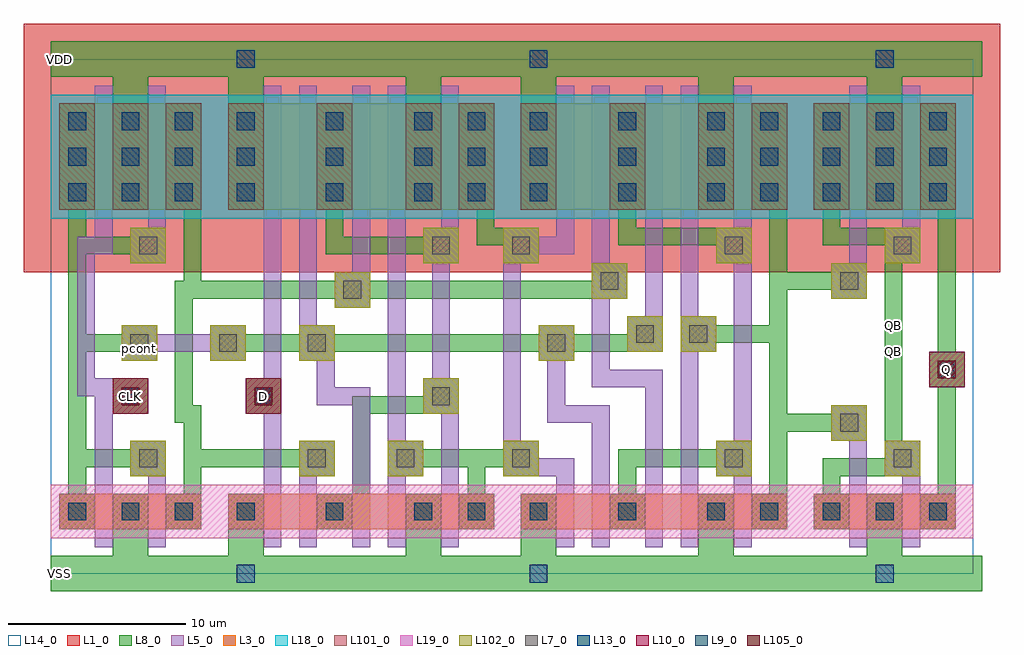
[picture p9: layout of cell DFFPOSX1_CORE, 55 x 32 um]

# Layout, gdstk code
import gdstk
lib = gdstk.Library(unit=1e-6, precision=1e-09)
def R(c, l, rs):  # rectangles x0, y0, x1, y1
    for r in rs: c.add(gdstk.rectangle(r[:2], r[2:], *l))
def A(c, l, x, y, w, h, nx, ny, dx, dy):  # array of equal rectangles
    R(c, l, [(x+i*dx, y+j*dy, x+i*dx+w, y+j*dy+h) for i in range(nx) for j in range(ny)])
def P(c, l, *ps):  # polygons
    for p in ps: c.add(gdstk.Polygon(p, *l))
L1_0 = (1, 0)
L3_0 = (3, 0)
L5_0 = (5, 0)
L7_0 = (7, 0)
L8_0 = (8, 0)
L9_0 = (9, 0)
L10_0 = (10, 0)
L13_0 = (13, 0)
L14_0 = (14, 0)
L18_0 = (18, 0)
L19_0 = (19, 0)
L101_0 = (101, 0)
L102_0 = (102, 0)
L105_0 = (105, 0)

dffposx1_core = lib.new_cell('DFFPOSX1_CORE')
R(dffposx1_core, L1_0, [(-1.5,17,53.5,31)])
R(dffposx1_core, L3_0, [(0.5,2.5,8.5,4.5), (10,2.5,25,4.5), (26.5,2.5,41.5,4.5), (43,2.5,51,4.5), (0.5,20.5,8.5,26.5), (10,20.5,25,26.5), (26.5,20.5,41.5,26.5), (43,20.5,51,26.5)])
P(dffposx1_core, L5_0, [(5.5,1.5),(5.5,5.5),(4.5,5.5),(4.5,7.5),(6.5,7.5),(6.5,1.5)],
  [(14,1.5),(14,7.5),(16,7.5),(16,5.5),(15,5.5),(15,1.5)],
  [(48,1.5),(48,5.5),(47,5.5),(47,7.5),(49,7.5),(49,1.5)],
  [(45,1.5),(45,7.5),(44,7.5),(44,9.5),(46,9.5),(46,1.5)],
  [(4,12),(4,14),(6,14),(6,13.5),(9,13.5),(9,14),(11,14),(11,12),(9,12),(9,12.5),(6,12.5),(6,12)],
  [(30.5,1.5),(30.5,8.5),(28,8.5),(28,12),(27.5,12),(27.5,14),(29.5,14),(29.5,12),(29,12),(29,9.5),(31.5,9.5),(31.5,1.5)],
  [(2.5,1.5),(2.5,10),(1.5,10),(1.5,19),(2.5,19),(2.5,27.5),(3.5,27.5),(3.5,18),(2.5,18),(2.5,11),(5.5,11),(5.5,9),(3.5,9),(3.5,1.5)],
  [(4.5,17.5),(4.5,19.5),(5.5,19.5),(5.5,27.5),(6.5,27.5),(6.5,17.5)],
  [(12,1.5),(12,9),(11,9),(11,11),(12,11),(12,27.5),(13,27.5),(13,1.5)],
  [(17,1.5),(17,9.5),(15,9.5),(15,12),(14,12),(14,27.5),(15,27.5),(15,14),(16,14),(16,10.5),(18,10.5),(18,1.5)],
  [(16,15),(16,17),(17,17),(17,27.5),(18,27.5),(18,15)],
  [(19,1.5),(19,27.5),(20,27.5),(20,7.5),(21,7.5),(21,5.5),(20,5.5),(20,1.5)],
  [(22,1.5),(22,9),(21,9),(21,11),(21.5,11),(21.5,17.5),(21,17.5),(21,19.5),(22,19.5),(22,27.5),(23,27.5),(23,17.5),(22.5,17.5),(22.5,11),(23,11),(23,1.5)],
  [(28.5,1.5),(28.5,5.5),(25.5,5.5),(25.5,19.5),(27.5,19.5),(27.5,19),(28.5,19),(28.5,27.5),(29.5,27.5),(29.5,18),(27.5,18),(27.5,17.5),(26.5,17.5),(26.5,7.5),(27.5,7.5),(27.5,6.5),(29.5,6.5),(29.5,1.5)],
  [(33.5,1.5),(33.5,10.5),(30.5,10.5),(30.5,27.5),(31.5,27.5),(31.5,17.5),(32.5,17.5),(32.5,15.5),(31.5,15.5),(31.5,11.5),(34.5,11.5),(34.5,1.5)],
  [(32.5,12.5),(32.5,14.5),(33.5,14.5),(33.5,27.5),(34.5,27.5),(34.5,12.5)],
  [(35.5,1.5),(35.5,27.5),(36.5,27.5),(36.5,14.5),(37.5,14.5),(37.5,12.5),(36.5,12.5),(36.5,1.5)],
  [(38.5,1.5),(38.5,5.5),(37.5,5.5),(37.5,7.5),(38.5,7.5),(38.5,17.5),(37.5,17.5),(37.5,19.5),(38.5,19.5),(38.5,27.5),(39.5,27.5),(39.5,1.5)],
  [(44,15.5),(44,17.5),(45,17.5),(45,27.5),(46,27.5),(46,15.5)],
  [(47,17.5),(47,19.5),(48,19.5),(48,27.5),(49,27.5),(49,17.5)])
A(dffposx1_core, L7_0, 1, 3, 1, 1, 3, 2, 3, 18)
A(dffposx1_core, L7_0, 10.5, 3, 1, 1, 3, 2, 5, 18)
A(dffposx1_core, L7_0, 27, 3, 1, 1, 3, 2, 5, 18)
A(dffposx1_core, L7_0, 43.5, 3, 1, 1, 3, 2, 3, 18)
A(dffposx1_core, L7_0, 4.5, 12.5, 1, 1, 3, 1, 5, 0)
A(dffposx1_core, L7_0, 23.5, 21, 1, 1, 1, 3, 0, 2)
A(dffposx1_core, L7_0, 40, 21, 1, 1, 1, 3, 0, 2)
A(dffposx1_core, L7_0, 1, 23, 1, 1, 3, 2, 3, 2)
A(dffposx1_core, L7_0, 10.5, 23, 1, 1, 3, 2, 5, 2)
A(dffposx1_core, L7_0, 27, 23, 1, 1, 3, 2, 5, 2)
A(dffposx1_core, L7_0, 43.5, 23, 1, 1, 3, 2, 3, 2)
R(dffposx1_core, L7_0, [(23.5,3,24.5,4), (40,3,41,4), (5,6,6,7), (14.5,6,15.5,7), (19.5,6,20.5,7), (26,6,27,7), (38,6,39,7), (47.5,6,48.5,7), (44.5,8,45.5,9), (4,9.5,5,10.5), (11.5,9.5,12.5,10.5), (21.5,9.5,22.5,10.5), (28,12.5,29,13.5), (33,13,34,14), (36,13,37,14), (16.5,15.5,17.5,16.5), (31,16,32,17), (44.5,16,45.5,17), (5,18,6,19), (21.5,18,22.5,19), (26,18,27,19), (38,18,39,19), (47.5,18,48.5,19)])
R(dffposx1_core, L8_0, [(3.5,9,5.5,11), (11,9,13,11)])
P(dffposx1_core, L8_0, [(0,-1),(0,1),(3.5,1),(3.5,4.5),(5.5,4.5),(5.5,1),(10,1),(10,4.5),(12,4.5),(12,1),(20,1),(20,4.5),(22,4.5),(22,1),(26.5,1),(26.5,4.5),(28.5,4.5),(28.5,1),(36.5,1),(36.5,4.5),(38.5,4.5),(38.5,1),(46,1),(46,4.5),(48,4.5),(48,1),(52.5,1),(52.5,-1)],
  [(3.5,20.5),(3.5,28),(0,28),(0,30),(52.5,30),(52.5,28),(48,28),(48,20.5),(46,20.5),(46,28),(38.5,28),(38.5,20.5),(36.5,20.5),(36.5,28),(28.5,28),(28.5,20.5),(26.5,20.5),(26.5,28),(22,28),(22,20.5),(20,20.5),(20,28),(12,28),(12,20.5),(10,20.5),(10,28),(5.5,28),(5.5,20.5)],
  [(23,2.5),(23,4.5),(23.5,4.5),(23.5,6),(21,6),(21,5.5),(19,5.5),(19,7.5),(21,7.5),(21,7),(25.5,7),(25.5,7.5),(27.5,7.5),(27.5,5.5),(25.5,5.5),(25.5,6),(24.5,6),(24.5,4.5),(25,4.5),(25,2.5)],
  [(31.5,2.5),(31.5,4.5),(32,4.5),(32,7),(37.5,7),(37.5,7.5),(39.5,7.5),(39.5,5.5),(37.5,5.5),(37.5,6),(33,6),(33,4.5),(33.5,4.5),(33.5,2.5)],
  [(15,2.5),(15,4.5),(17,4.5),(17,10),(21,10),(21,11),(23,11),(23,9),(18,9),(18,2.5)],
  [(9,12),(9,14),(11,14),(11,13.5),(14,13.5),(14,14),(16,14),(16,13.5),(27.5,13.5),(27.5,14),(29.5,14),(29.5,13.5),(32.5,13.5),(32.5,14.5),(34.5,14.5),(34.5,12.5),(29.5,12.5),(29.5,12),(27.5,12),(27.5,12.5),(16,12.5),(16,12),(14,12),(14,12.5),(11,12.5),(11,12)],
  [(0.5,2.5),(0.5,4.5),(1,4.5),(1,20.5),(0.5,20.5),(0.5,26.5),(2.5,26.5),(2.5,20.5),(2,20.5),(2,19),(4.5,19),(4.5,19.5),(6.5,19.5),(6.5,17.5),(4.5,17.5),(4.5,18),(2,18),(2,13.5),(4,13.5),(4,14),(6,14),(6,12),(4,12),(4,12.5),(2,12.5),(2,7),(4.5,7),(4.5,7.5),(6.5,7.5),(6.5,5.5),(4.5,5.5),(4.5,6),(2,6),(2,4.5),(2.5,4.5),(2.5,2.5)],
  [(6.5,2.5),(6.5,4.5),(7.5,4.5),(7.5,8.5),(7,8.5),(7,16.5),(7.5,16.5),(7.5,20.5),(6.5,20.5),(6.5,26.5),(8.5,26.5),(8.5,16.5),(16,16.5),(16,17),(18,17),(18,16.5),(30.5,16.5),(30.5,17.5),(32.5,17.5),(32.5,15.5),(18,15.5),(18,15),(16,15),(16,15.5),(8,15.5),(8,9.5),(8.5,9.5),(8.5,7),(14,7),(14,7.5),(16,7.5),(16,5.5),(14,5.5),(14,6),(8.5,6),(8.5,2.5)],
  [(21,17.5),(21,18),(15.5,18),(15.5,20.5),(15,20.5),(15,26.5),(17,26.5),(17,20.5),(16.5,20.5),(16.5,19),(21,19),(21,19.5),(23,19.5),(23,17.5)],
  [(25.5,17.5),(25.5,18.5),(24,18.5),(24,20.5),(23,20.5),(23,26.5),(25,26.5),(25,19.5),(27.5,19.5),(27.5,17.5)],
  [(37.5,17.5),(37.5,18.5),(32,18.5),(32,20.5),(31.5,20.5),(31.5,26.5),(33.5,26.5),(33.5,20.5),(33,20.5),(33,19.5),(39.5,19.5),(39.5,17.5)],
  [(39.5,2.5),(39.5,4.5),(40.5,4.5),(40.5,13),(37.5,13),(37.5,12.5),(35.5,12.5),(35.5,14.5),(37.5,14.5),(37.5,14),(40.5,14),(40.5,20.5),(39.5,20.5),(39.5,26.5),(41.5,26.5),(41.5,17),(44,17),(44,17.5),(46,17.5),(46,15.5),(44,15.5),(44,16),(41.5,16),(41.5,9),(44,9),(44,9.5),(46,9.5),(46,7.5),(44,7.5),(44,8),(41.5,8),(41.5,2.5)],
  [(43,2.5),(43,4.5),(43.5,4.5),(43.5,6.5),(47,6.5),(47,18.5),(43.5,18.5),(43.5,20.5),(43,20.5),(43,26.5),(45,26.5),(45,20.5),(44.5,20.5),(44.5,19.5),(49,19.5),(49,17.5),(48,17.5),(48,7.5),(49,7.5),(49,5.5),(44.5,5.5),(44.5,4.5),(45,4.5),(45,2.5)],
  [(49,2.5),(49,4.5),(50,4.5),(50,10.5),(49.5,10.5),(49.5,12.5),(50,12.5),(50,20.5),(49,20.5),(49,26.5),(51,26.5),(51,12.5),(51.5,12.5),(51.5,10.5),(51,10.5),(51,2.5)])
R(dffposx1_core, L9_0, [(4,9.5,5,10.5), (11.5,9.5,12.5,10.5), (50,11,51,12)])
R(dffposx1_core, L10_0, [(3.5,9,5.5,11), (11,9,13,11), (49.5,10.5,51.5,12.5)])
A(dffposx1_core, L13_0, 1, 3, 1, 1, 3, 2, 3, 18)
A(dffposx1_core, L13_0, 10.5, 3, 1, 1, 3, 2, 5, 18)
A(dffposx1_core, L13_0, 27, 3, 1, 1, 3, 2, 5, 18)
A(dffposx1_core, L13_0, 43.5, 3, 1, 1, 3, 2, 3, 18)
A(dffposx1_core, L13_0, 23.5, 21, 1, 1, 1, 3, 0, 2)
A(dffposx1_core, L13_0, 40, 21, 1, 1, 1, 3, 0, 2)
A(dffposx1_core, L13_0, 1, 23, 1, 1, 3, 2, 3, 2)
A(dffposx1_core, L13_0, 10.5, 23, 1, 1, 3, 2, 5, 2)
A(dffposx1_core, L13_0, 27, 23, 1, 1, 3, 2, 5, 2)
A(dffposx1_core, L13_0, 43.5, 23, 1, 1, 3, 2, 3, 2)
R(dffposx1_core, L13_0, [(10.5,-0.5,11.5,0.5), (27,-0.5,28,0.5), (46.5,-0.5,47.5,0.5), (23.5,3,24.5,4), (40,3,41,4), (4,9.5,5,10.5), (11.5,9.5,12.5,10.5), (50,11,51,12), (10.5,28.5,11.5,29.5), (27,28.5,28,29.5), (46.5,28.5,47.5,29.5)])
R(dffposx1_core, L14_0, [(0,0,52,29)])
R(dffposx1_core, L18_0, [(0,20,52,27)])
R(dffposx1_core, L19_0, [(0,2,52,5)])
A(dffposx1_core, L101_0, 0.5, 2.5, 2, 2, 3, 1, 3, 0)
A(dffposx1_core, L101_0, 10, 2.5, 2, 2, 3, 1, 5, 0)
A(dffposx1_core, L101_0, 26.5, 2.5, 2, 2, 3, 1, 5, 0)
A(dffposx1_core, L101_0, 43, 2.5, 2, 2, 3, 1, 3, 0)
A(dffposx1_core, L101_0, 0.5, 20.5, 2, 6, 3, 1, 3, 0)
A(dffposx1_core, L101_0, 10, 20.5, 2, 6, 3, 1, 5, 0)
A(dffposx1_core, L101_0, 26.5, 20.5, 2, 6, 3, 1, 5, 0)
A(dffposx1_core, L101_0, 43, 20.5, 2, 6, 3, 1, 3, 0)
R(dffposx1_core, L101_0, [(23,2.5,25,4.5), (39.5,2.5,41.5,4.5), (23,20.5,25,26.5), (39.5,20.5,41.5,26.5)])
A(dffposx1_core, L102_0, 4, 12, 2, 2, 3, 1, 5, 0)
R(dffposx1_core, L102_0, [(4.5,5.5,6.5,7.5), (14,5.5,16,7.5), (19,5.5,21,7.5), (25.5,5.5,27.5,7.5), (37.5,5.5,39.5,7.5), (47,5.5,49,7.5), (44,7.5,46,9.5), (3.5,9,5.5,11), (11,9,13,11), (21,9,23,11), (27.5,12,29.5,14), (32.5,12.5,34.5,14.5), (35.5,12.5,37.5,14.5), (16,15,18,17), (30.5,15.5,32.5,17.5), (44,15.5,46,17.5), (4.5,17.5,6.5,19.5), (21,17.5,23,19.5), (25.5,17.5,27.5,19.5), (37.5,17.5,39.5,19.5), (47,17.5,49,19.5)])
R(dffposx1_core, L105_0, [(4,9.5,5,10.5), (11.5,9.5,12.5,10.5), (50,11,51,12)])
dffposx1_core.add(gdstk.Label('QB', (47.5,14), layer=8, texttype=0))
dffposx1_core.add(gdstk.Label('VDD', (0.5,29), layer=8, texttype=0))
dffposx1_core.add(gdstk.Label('VSS', (0.5,0), layer=8, texttype=0))
dffposx1_core.add(gdstk.Label('QB', (47.5,12.5), layer=8, texttype=0))
dffposx1_core.add(gdstk.Label('CLK', (4.5,10), layer=10, texttype=0))
dffposx1_core.add(gdstk.Label('D', (12,10), layer=10, texttype=0))
dffposx1_core.add(gdstk.Label('Q', (50.5,11.5), layer=10, texttype=0))
dffposx1_core.add(gdstk.Label('via', (50.2,11.2), layer=13, texttype=0))
dffposx1_core.add(gdstk.Label('via', (11.7,9.7), layer=13, texttype=0))
dffposx1_core.add(gdstk.Label('via', (11.7,9.7), layer=13, texttype=0))
dffposx1_core.add(gdstk.Label('pcont', (5,12.7), layer=13, texttype=0))
dffposx1_core.add(gdstk.Label('via', (4.2,9.7), layer=13, texttype=0))
dffposx1_core.add(gdstk.Label('via', (4.2,9.7), layer=13, texttype=0))
dffposx1_core.add(gdstk.Label('dcont', (0,0), layer=13, texttype=0))
dffposx1_core.add(gdstk.Label('dcont', (0,0), layer=13, texttype=0))
dffposx1_core.add(gdstk.Label('dcont', (0,0), layer=13, texttype=0))
dffposx1_core.add(gdstk.Label('dcont', (0,0), layer=13, texttype=0))
dffposx1_core.add(gdstk.Label('dcont', (0,0), layer=13, texttype=0))
dffposx1_core.add(gdstk.Label('dcont', (0,0), layer=13, texttype=0))
dffposx1_core.add(gdstk.Label('dcont', (0,0), layer=13, texttype=0))
dffposx1_core.add(gdstk.Label('dcont', (0,0), layer=13, texttype=0))
dffposx1_core.add(gdstk.Label('dcont', (0,0), layer=13, texttype=0))
dffposx1_core.add(gdstk.Label('dcont', (0,0), layer=13, texttype=0))
dffposx1_core.add(gdstk.Label('dcont', (0,0), layer=13, texttype=0))
dffposx1_core.add(gdstk.Label('dcont', (0,0), layer=13, texttype=0))
dffposx1_core.add(gdstk.Label('dcont', (0,0), layer=13, texttype=0))
dffposx1_core.add(gdstk.Label('dcont', (0,0), layer=13, texttype=0))
dffposx1_core.add(gdstk.Label('dcont', (0,0), layer=13, texttype=0))
dffposx1_core.add(gdstk.Label('dcont', (0,0), layer=13, texttype=0))
dffposx1_core.add(gdstk.Label('dcont', (0,0), layer=13, texttype=0))
dffposx1_core.add(gdstk.Label('dcont', (0,0), layer=13, texttype=0))
dffposx1_core.add(gdstk.Label('dcont', (0,0), layer=13, texttype=0))
dffposx1_core.add(gdstk.Label('dcont', (0,0), layer=13, texttype=0))
dffposx1_core.add(gdstk.Label('dcont', (0,0), layer=13, texttype=0))
dffposx1_core.add(gdstk.Label('dcont', (0,0), layer=13, texttype=0))
dffposx1_core.add(gdstk.Label('dcont', (0,0), layer=13, texttype=0))
dffposx1_core.add(gdstk.Label('dcont', (0,0), layer=13, texttype=0))
dffposx1_core.add(gdstk.Label('dcont', (0,0), layer=13, texttype=0))
dffposx1_core.add(gdstk.Label('dcont', (0,0), layer=13, texttype=0))
dffposx1_core.add(gdstk.Label('dcont', (0,0), layer=13, texttype=0))
dffposx1_core.add(gdstk.Label('dcont', (0,0), layer=13, texttype=0))
dffposx1_core.add(gdstk.Label('dcont', (0,0), layer=13, texttype=0))
dffposx1_core.add(gdstk.Label('dcont', (0,0), layer=13, texttype=0))
dffposx1_core.add(gdstk.Label('dcont', (0,0), layer=13, texttype=0))
dffposx1_core.add(gdstk.Label('dcont', (0,0), layer=13, texttype=0))
dffposx1_core.add(gdstk.Label('dcont', (0,0), layer=13, texttype=0))
dffposx1_core.add(gdstk.Label('dcont', (0,0), layer=13, texttype=0))
dffposx1_core.add(gdstk.Label('dcont', (0,0), layer=13, texttype=0))
dffposx1_core.add(gdstk.Label('dcont', (0,0), layer=13, texttype=0))
dffposx1_core.add(gdstk.Label('dcont', (0,0), layer=13, texttype=0))
dffposx1_core.add(gdstk.Label('dcont', (0,0), layer=13, texttype=0))
dffposx1_core.add(gdstk.Label('dcont', (0,0), layer=13, texttype=0))
dffposx1_core.add(gdstk.Label('dcont', (0,0), layer=13, texttype=0))
dffposx1_core.add(gdstk.Label('dcont', (0,0), layer=13, texttype=0))
dffposx1_core.add(gdstk.Label('dcont', (0,0), layer=13, texttype=0))
dffposx1_core.add(gdstk.Label('dcont', (0,0), layer=13, texttype=0))
dffposx1_core.add(gdstk.Label('dcont', (0,0), layer=13, texttype=0))
dffposx1_core.add(gdstk.Label('dcont', (0,0), layer=13, texttype=0))
dffposx1_core.add(gdstk.Label('dcont', (0,0), layer=13, texttype=0))
dffposx1_core.add(gdstk.Label('dcont', (0,0), layer=13, texttype=0))
dffposx1_core.add(gdstk.Label('dcont', (0,0), layer=13, texttype=0))
dffposx1_core.add(gdstk.Label('dcont', (0,0), layer=13, texttype=0))
dffposx1_core.add(gdstk.Label('dcont', (0,0), layer=13, texttype=0))
dffposx1_core.add(gdstk.Label('dcont', (0,0), layer=13, texttype=0))
dffposx1_core.add(gdstk.Label('dcont', (0,0), layer=13, texttype=0))
dffposx1_core.add(gdstk.Label('dcont', (0,0), layer=13, texttype=0))
dffposx1_core.add(gdstk.Label('dcont', (0,0), layer=13, texttype=0))
dffposx1_core.add(gdstk.Label('dcont', (0,0), layer=13, texttype=0))
dffposx1_core.add(gdstk.Label('dcont', (0,0), layer=13, texttype=0))
dffposx1_core.add(gdstk.Label('PScon', (0,0), layer=13, texttype=0))
dffposx1_core.add(gdstk.Label('dcont', (0,0), layer=13, texttype=0))
dffposx1_core.add(gdstk.Label('PScon', (0,0), layer=13, texttype=0))
dffposx1_core.add(gdstk.Label('dcont', (0,0), layer=13, texttype=0))
dffposx1_core.add(gdstk.Label('PScon', (0,0), layer=13, texttype=0))
dffposx1_core.add(gdstk.Label('dcont', (0,0), layer=13, texttype=0))
dffposx1_core.add(gdstk.Label('via', (0,0), layer=13, texttype=0))
dffposx1_core.add(gdstk.Label('via', (0,0), layer=13, texttype=0))
dffposx1_core.add(gdstk.Label('via', (0,0), layer=13, texttype=0))
dffposx1_core.add(gdstk.Label('pcont', (0,0), layer=13, texttype=0))
dffposx1_core.add(gdstk.Label('pcont', (0,0), layer=13, texttype=0))
dffposx1_core.add(gdstk.Label('pcont', (0,0), layer=13, texttype=0))
dffposx1_core.add(gdstk.Label('pcont', (0,0), layer=13, texttype=0))
dffposx1_core.add(gdstk.Label('pcont', (0,0), layer=13, texttype=0))
dffposx1_core.add(gdstk.Label('pcont', (0,0), layer=13, texttype=0))
dffposx1_core.add(gdstk.Label('pcont', (0,0), layer=13, texttype=0))
dffposx1_core.add(gdstk.Label('pcont', (0,0), layer=13, texttype=0))
dffposx1_core.add(gdstk.Label('pcont', (0,0), layer=13, texttype=0))
dffposx1_core.add(gdstk.Label('pcont', (0,0), layer=13, texttype=0))
dffposx1_core.add(gdstk.Label('pcont', (0,0), layer=13, texttype=0))
dffposx1_core.add(gdstk.Label('pcont', (0,0), layer=13, texttype=0))
dffposx1_core.add(gdstk.Label('pcont', (0,0), layer=13, texttype=0))
dffposx1_core.add(gdstk.Label('pcont', (0,0), layer=13, texttype=0))
dffposx1_core.add(gdstk.Label('pcont', (0,0), layer=13, texttype=0))
dffposx1_core.add(gdstk.Label('pcont', (0,0), layer=13, texttype=0))
dffposx1_core.add(gdstk.Label('pcont', (0,0), layer=13, texttype=0))
dffposx1_core.add(gdstk.Label('pcont', (0,0), layer=13, texttype=0))
dffposx1_core.add(gdstk.Label('pcont', (0,0), layer=13, texttype=0))
dffposx1_core.add(gdstk.Label('pcont', (0,0), layer=13, texttype=0))
dffposx1_core.add(gdstk.Label('pcont', (0,0), layer=13, texttype=0))
dffposx1_core.add(gdstk.Label('pcont', (0,0), layer=13, texttype=0))
dffposx1_core.add(gdstk.Label('pcont', (0,0), layer=13, texttype=0))
dffposx1_core.add(gdstk.Label('pcont', (0,0), layer=13, texttype=0))
dffposx1_core.add(gdstk.Label('NScont', (0,0), layer=13, texttype=0))
dffposx1_core.add(gdstk.Label('dcont', (0,0), layer=13, texttype=0))
dffposx1_core.add(gdstk.Label('NScont', (0,0), layer=13, texttype=0))
dffposx1_core.add(gdstk.Label('dcont', (0,0), layer=13, texttype=0))
dffposx1_core.add(gdstk.Label('NScont', (0,0), layer=13, texttype=0))
dffposx1_core.add(gdstk.Label('dcont', (0,0), layer=13, texttype=0))

lib.write_gds('DFFPOSX1_CORE.gds')
